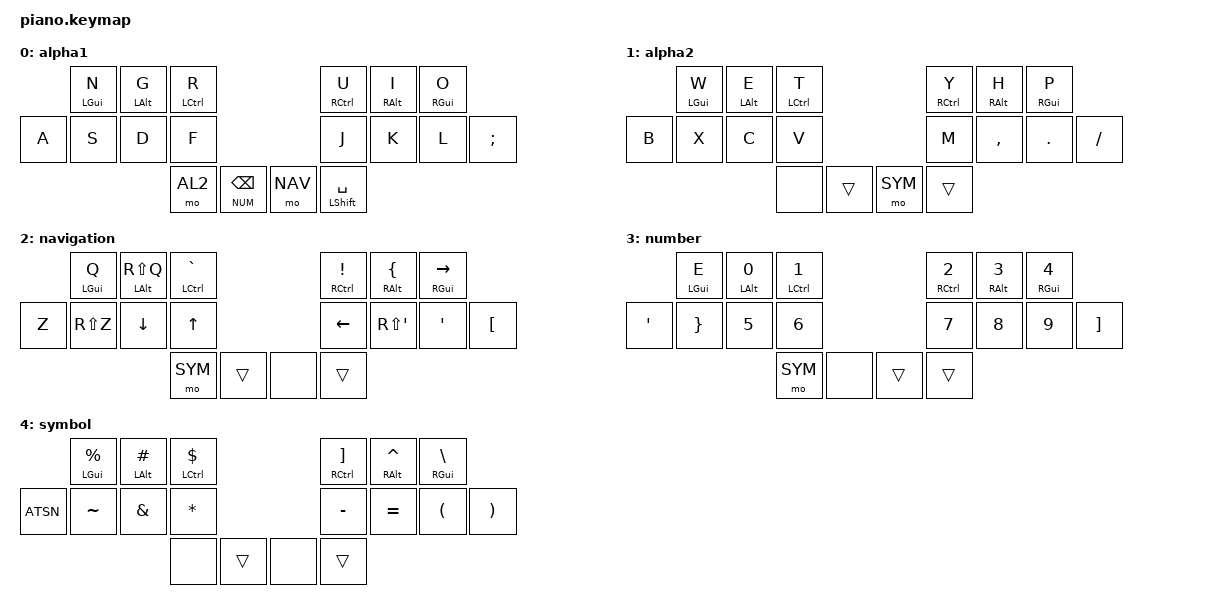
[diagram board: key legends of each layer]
#include <behaviors.dtsi>
#include <dt-bindings/zmk/keys.h>

/* Layers */
#define AL1 0
#define AL2 1
#define NAV 2
#define NUM 3
#define SYM 4
/ {
    combos {
        compatible = "zmk,combos";
        combo_ret {
            timeout-ms = <30>;
            key-positions = <3 4>;
            bindings = <&kp RET>;
            layers = <AL1 SYM NUM NAV>;
        };
        combo_backspace {
            timeout-ms = <30>;
            key-positions = <4 5>;
            bindings = <&kp DEL>;
            layers = <AL1 SYM NUM NAV>;
        };
        combo_tab {
            timeout-ms = <30>;
            key-positions = <1 2>;
            bindings = <&kp TAB>;
            layers = <AL1 SYM NUM NAV>;
        };
        combo_esc {
            timeout-ms = <30>;
            key-positions = <0 1>;
            bindings = <&kp ESC>;
            layers = <AL1 SYM NUM NAV>;
        };
    };
    behaviors {
        skq: sticky_key_quick_release {
            compatible = "zmk,behavior-sticky-key";
            #binding-cells = <1>;
            bindings = <&kp>;
            release-after-ms = <1000>;
            quick-release;
            lazy;
        };
        shft: shift_key_hold_tap {
            compatible = "zmk,behavior-hold-tap";
            #binding-cells = <2>;
            tapping-term-ms = <250>;
            quick-tap-ms = <250>;
            flavor = "tap-preferred";
            bindings = <&skq>, <&kp>;
        };
        hm_l: homerow_mods_left {
            compatible = "zmk,behavior-hold-tap";
            #binding-cells = <2>;
            tapping-term-ms = <250>;
            quick-tap-ms = <250>;
            flavor = "tap-preferred";
            bindings = <&kp>, <&kp>;
        };
        hm_r: homerow_mods_right {
            compatible = "zmk,behavior-hold-tap";
            #binding-cells = <2>;
            tapping-term-ms = <250>;
            quick-tap-ms = <250>;
            flavor = "tap-preferred";
            bindings = <&kp>, <&kp>;
        };
        hl_l: homerow_layers_left {
            compatible = "zmk,behavior-hold-tap";
            #binding-cells = <2>;
            tapping-term-ms = <250>;
            quick-tap-ms = <250>;
            flavor = "tap-preferred";
            bindings = <&mo>, <&kp>;
        };
        hl_r: homerow_layers_right {
            compatible = "zmk,behavior-hold-tap";
            #binding-cells = <2>;
            tapping-term-ms = <250>;
            quick-tap-ms = <250>;
            flavor = "tap-preferred";
            bindings = <&mo>, <&kp>;
        };
    };
//			0		1		2						3		4		5
//	6		7		8		9						10		11		12		13
//							14		15		16		17
    keymap {
        compatible = "zmk,keymap";
		alpha1 { // Layer 0
		bindings = <
		 		&hm_l LGUI N	&hm_l LALT G	&hm_l LCTRL R								&hm_r RCTRL U 	&hm_r RALT I	&hm_r RGUI O
		&kp A	&kp S			&kp D			&kp F										&kp J			&kp K			&kp L		&kp SEMI
			 	 		 						&mo AL2		&hl_r NUM BSPC		&mo NAV		&shft LSHIFT SPACE
		>;
		};

		alpha2 { // Layer 1
		bindings = <
		 		&hm_l LGUI W	&hm_l LALT E	&hm_l LCTRL T				&hm_r RCTRL Y 	&hm_r RALT H	&hm_r RGUI P
		&kp B	&kp X			&kp C			&kp V						&kp M			&kp COMMA		&kp DOT			&kp FSLH
			 									&none	&trans		&mo SYM	&trans
		>;
		};

		navigation { // Layer 2
		bindings = <
		 		&hm_l LGUI Q	&hm_l LALT RS(Q)	&hm_l LCTRL GRAVE					&hm_r RCTRL EXCL	&hm_r RALT LBRC		&hm_r RGUI RIGHT
		&kp Z	&kp RS(Z)		&kp DOWN			&kp UP								&kp LEFT			&kp RS(SQT)			&kp SQT			&kp LBKT
		  											&mo SYM		&trans			&none	&trans
		>;
		};

		number { // Layer 3
		bindings = <
				&hm_l LGUI E	&hm_l LALT N0	&hm_l LCTRL N1					&hm_r RCTRL N2	&hm_r RALT N3	&hm_r RGUI N4
		&kp SQT	&kp RBRC		&kp N5			&kp N6							&kp N7			&kp N8			&kp N9		&kp RBKT
												&mo SYM		&none		&trans	&trans
		>;
		};

		symbol { // Layer 4
		bindings = <
		 			&hm_l LGUI PRCNT	&hm_l LALT HASH	&hm_l LCTRL DLLR				&hm_r RCTRL RBKT	&hm_r RALT CARET	&hm_r RGUI BSLH
		&kp ATSN	&kp TILDE			&kp AMPS		&kp STAR						&kp MINUS			&kp EQUAL			&kp LPAR		&kp RPAR
		 												&none		&trans		&none	&trans
		>;
		};
	};
};
